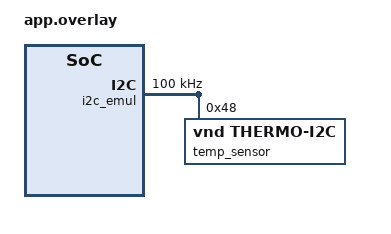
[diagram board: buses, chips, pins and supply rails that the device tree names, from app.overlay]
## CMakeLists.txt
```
cmake_minimum_required(VERSION 3.20.0)
find_package(Zephyr REQUIRED HINTS $ENV{ZEPHYR_BASE})
project(sensor_node LANGUAGES C)

target_sources(app PRIVATE
  src/main.c
  src/acquisition.c
  src/node.c
  src/sensor_source.c
  src/shell_cmds.c
  src/drivers/thermo_i2c.c
  src/lib/ring_buffer.c
  src/lib/moving_average.c
  src/lib/alarm.c
)
# The emulated sensor stands in for the hardware (app.overlay puts it on an emulated
# I2C bus). A build for a real board drops the overlay and this file.
target_sources_ifdef(CONFIG_EMUL app PRIVATE src/drivers/thermo_i2c_emul.c)
target_include_directories(app PRIVATE src src/lib)

# The portable modules (no Zephyr headers) also get the conversion warnings; the whole
# build treats warnings as errors (CONFIG_COMPILER_WARNINGS_AS_ERRORS).
set_source_files_properties(src/lib/ring_buffer.c src/lib/moving_average.c src/lib/alarm.c
  PROPERTIES COMPILE_OPTIONS "-Wextra;-Wshadow;-Wconversion;-Wsign-conversion")
```

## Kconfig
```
mainmenu "Sensor node"

rsource "Kconfig.app"

source "Kconfig.zephyr"
```

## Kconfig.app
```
# The application's options, shared with the test applications under tests/.

menu "Sensor node"

config APP_SAMPLE_PERIOD_MS
	int "Sampling period (ms)"
	range 10 10000
	default 100

config APP_AVERAGE_WINDOW
	int "Moving average window (readings)"
	range 1 64
	default 8

config APP_ALARM_HIGH_MILLI_C
	int "Alarm threshold (milli-degrees Celsius)"
	default 30000

config APP_ALARM_CLEAR_MILLI_C
	int "Alarm clear threshold (milli-degrees Celsius), below the alarm threshold"
	default 28000

config APP_FAULT_AFTER
	int "Consecutive failed reads that put the node in FAULT"
	range 1 100
	default 3

config APP_QUEUE_DEPTH
	int "Readings queued between acquisition and processing"
	range 2 256
	default 16

config APP_WATCHDOG_TIMEOUT_MS
	int "Watchdog timeout of each thread (ms)"
	range 100 60000
	default 1000

config APP_HEALTH_EVERY
	int "Log a health line every this many readings (0 = never)"
	default 50

config APP_TEST_STALL_AFTER
	int "Test only: the processing thread stops after this many readings (0 = never)"
	default 0

endmenu
```

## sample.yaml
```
# The whole application on QEMU, checked from its console output. The comment above each
# scenario lists the requirements it verifies (docs/requirements.md, scripts/trace.py).
sample:
  name: Sensor node
  description: Temperature node with an I2C sensor, alarm, watchdog and shell
common:
  tags: sensor_node
  platform_allow:
    - qemu_cortex_m3
    - mps2/an385
  integration_platforms:
    - qemu_cortex_m3
    - mps2/an385
  harness: console
  timeout: 60
tests:
  # Verifies: REQ-001, REQ-003, REQ-004
  sensor_node.app.alarm_cycle:
    harness_config:
      type: multi_line
      ordered: true
      regex:
        - "sensor node started: a reading every 100 ms"
        - "ALARM ON: average 3[0-9]\\.[0-9]{3} C reached 30\\.000 C"
        - "health: 50 readings processed, 0 dropped, 0 out of order, 0 failed reads"
        - "ALARM OFF: average 2[0-8]\\.[0-9]{3} C back to 28\\.000 C"
        - "health: 100 readings processed, 0 dropped, 0 out of order, 0 failed reads"
  # Verifies: REQ-005
  sensor_node.app.sensor_fault:
    # Twister passes these as DTC_OVERLAY_FILE, which replaces app.overlay: list it too.
    extra_dtc_overlay_files:
      - "app.overlay"
      - "tests/overlays/fault.overlay"
    harness_config:
      type: multi_line
      ordered: true
      regex:
        - "FAULT: 3 failed reads in a row"
        - "RECOVERED: sensor answers again, state (NORMAL|HIGH)"
        - "health: 50 readings processed, 0 dropped, 0 out of order, 3 failed reads"
  # Verifies: REQ-012
  sensor_node.app.watchdog:
    extra_configs:
      - CONFIG_APP_TEST_STALL_AFTER=20
    harness_config:
      type: multi_line
      ordered: true
      regex:
        - "Booting Zephyr OS"
        - "test: processing thread stops here"
        - "WATCHDOG: processing thread stalled, rebooting"
        - "Booting Zephyr OS"
        - "sensor node started"
  # Verifies: REQ-013
  sensor_node.app.shell:
    harness: shell
    harness_config:
      shell_commands:
        - command: "sensor read"
          expected: "temperature: [0-9]+\\.[0-9]{3} C"
        - command: "stats"
          expected: "readings: [0-9]+ processed, 0 dropped, 0 out of order, 0 failed"
        - command: "sensor fail 3"
          expected: "the next 3 reads will fail"
        # shell_error() colours the line, so an escape sequence comes before the text.
        - command: "sensor fail 0"
          expected: ".*usage: sensor fail <1-100>"
```

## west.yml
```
# West manifest: Zephyr v4.5.0 and only the modules this application needs.
manifest:
  self:
    path: zephyr-sensor-node

  remotes:
    - name: zephyrproject-rtos
      url-base: https://github.com/zephyrproject-rtos

  projects:
    - name: zephyr
      remote: zephyrproject-rtos
      revision: v4.5.0
      import:
        name-allowlist:
          - cmsis_6 # the Arm Cortex-M port needs CMSIS
```

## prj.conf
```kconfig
# The sensor, on an emulated I2C bus (see app.overlay).
CONFIG_SENSOR=y
CONFIG_I2C=y
CONFIG_EMUL=y

CONFIG_LOG=y
CONFIG_PRINTK=y

CONFIG_SHELL=y

# One software watchdog channel per thread. On a board with a hardware watchdog, also
# enable CONFIG_WATCHDOG and CONFIG_TASK_WDT_HW_FALLBACK, so that a stuck kernel (which
# would stop the software timer too) is caught as well.
CONFIG_TASK_WDT=y
CONFIG_REBOOT=y

CONFIG_THREAD_NAME=y
CONFIG_THREAD_STACK_INFO=y
CONFIG_ASSERT=y
CONFIG_STACK_SENTINEL=y
CONFIG_COMPILER_WARNINGS_AS_ERRORS=y
```

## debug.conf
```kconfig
# Extra configuration for debugging with GDB: west build ... -- -DEXTRA_CONF_FILE=debug.conf
CONFIG_DEBUG_OPTIMIZATIONS=y
CONFIG_DEBUG_THREAD_INFO=y
```

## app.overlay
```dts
/*
 * The temperature sensor on an emulated I2C bus. The emulator answers the driver's I2C
 * transfers register by register, as the chip would; its temperature follows a triangle
 * from 21 C up to 35 C and back over 80 readings, enough to raise and clear the alarm in
 * every cycle. For real hardware, put the same sensor node under the board's I2C
 * controller instead.
 */
/ {
	i2c_emul: i2c@100 {
		compatible = "zephyr,i2c-emul-controller";
		status = "okay";
		reg = <0x100 4>;
		clock-frequency = <100000>;
		#address-cells = <1>;
		#size-cells = <0>;
		#forward-cells = <1>;

		temp_sensor: thermo@48 {
			compatible = "vnd,thermo-i2c";
			status = "okay";
			reg = <0x48>;
		};
	};
};
```

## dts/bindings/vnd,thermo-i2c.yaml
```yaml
description: |
  THERMO-1 I2C temperature sensor (a fictitious part; register map in docs/sensor.md).

  The sim-* properties configure the emulator (src/drivers/thermo_i2c_emul.c), which
  stands in for the chip on an emulated bus. The driver ignores them.

compatible: "vnd,thermo-i2c"

include: i2c-device.yaml

properties:
  sim-baseline-milli-celsius:
    type: int
    default: 21000
    description: Emulator. Temperature at the bottom of the triangle profile.
  sim-amplitude-milli-celsius:
    type: int
    default: 14000
    description: Emulator. Rise from the baseline to the top of the profile.
  sim-period-reads:
    type: int
    default: 80
    description: Emulator. Temperature reads per cycle; even, at least 2.
  sim-fail-at-read:
    type: int
    default: 0
    description: |
      Emulator. Temperature reads number sim-fail-at-read to sim-fail-at-read + 2 fail
      (no acknowledge), like a chip that drops off the bus. 0 never fails.
  sim-device-id:
    type: int
    default: 21553
    description: Emulator. Value of the DEVICE_ID register (0x5431 is the real part).
```

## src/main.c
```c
/*
 * Sensor node: an acquisition thread reads the temperature every
 * CONFIG_APP_SAMPLE_PERIOD_MS and queues it; a processing thread averages the readings,
 * runs the alarm state machine and keeps the history. Each thread has its own watchdog
 * channel, fed only from its own loop, so a stuck thread is named and the node reboots.
 */
#include <errno.h>

#include <zephyr/kernel.h>
#include <zephyr/logging/log.h>
#include <zephyr/logging/log_ctrl.h>
#include <zephyr/sys/printk.h>
#include <zephyr/sys/reboot.h>
#include <zephyr/task_wdt/task_wdt.h>

#include "acquisition.h"
#include "format.h"
#include "node.h"
#include "sensor_source.h"

LOG_MODULE_REGISTER(main, LOG_LEVEL_INF);

/* Acquisition runs above processing: sampling stays on time even when processing lags. */
#define ACQUISITION_PRIORITY K_PRIO_PREEMPT(5)
#define PROCESSING_PRIORITY  K_PRIO_PREEMPT(7)
#define STACK_SIZE           1024

K_MSGQ_DEFINE(readings, sizeof(struct reading), CONFIG_APP_QUEUE_DEPTH, 4);

static K_THREAD_STACK_DEFINE(acquisition_stack, STACK_SIZE);
static K_THREAD_STACK_DEFINE(processing_stack, STACK_SIZE);
static struct k_thread acquisition_thread;
static struct k_thread processing_thread;

static char acquisition_name[] = "acquisition";
static char processing_name[] = "processing";
static int acquisition_wdt = -1;
static int processing_wdt = -1;

/* Runs in the system timer's interrupt: print directly, then reset. */
static void watchdog_expired(int channel_id, void *user_data)
{
	ARG_UNUSED(channel_id);
	printk("WATCHDOG: %s thread stalled, rebooting\n", (const char *)user_data);
	log_panic(); /* flush the log before the reset */
	sys_reboot(SYS_REBOOT_COLD);
}

static void acquisition(void *p1, void *p2, void *p3)
{
	int64_t next = k_uptime_get();
	uint32_t seq = 0U;

	ARG_UNUSED(p1);
	ARG_UNUSED(p2);
	ARG_UNUSED(p3);
	for (;;) {
		seq++;
		(void)acquisition_step(&readings, seq);
		(void)task_wdt_feed(acquisition_wdt);
		/* Absolute deadlines: the period does not drift by the time spent reading. */
		next += CONFIG_APP_SAMPLE_PERIOD_MS;
		k_sleep(K_TIMEOUT_ABS_MS(next));
	}
}

static void processing(void *p1, void *p2, void *p3)
{
	struct reading r;

	ARG_UNUSED(p1);
	ARG_UNUSED(p2);
	ARG_UNUSED(p3);
	for (;;) {
		/* Wake up at least 4 times per watchdog period, readings or not. */
		if (k_msgq_get(&readings, &r, K_MSEC(CONFIG_APP_WATCHDOG_TIMEOUT_MS / 4)) == 0) {
			node_process(&r);
			if (CONFIG_APP_TEST_STALL_AFTER > 0 &&
			    r.seq >= (uint32_t)CONFIG_APP_TEST_STALL_AFTER) {
				LOG_WRN("test: processing thread stops here");
				k_sleep(K_FOREVER);
			}
		}
		(void)task_wdt_feed(processing_wdt);
	}
}

int main(void)
{
	int err = sensor_source_init();

	if (err != 0) {
		LOG_ERR("temperature sensor not ready: %d", err);
		return err;
	}
	err = node_init();
	if (err != 0) {
		LOG_ERR("invalid configuration: %d", err);
		return err;
	}
	err = task_wdt_init(NULL);
	if (err != 0) {
		LOG_ERR("task watchdog: %d", err);
		return err;
	}
	acquisition_wdt = task_wdt_add(CONFIG_APP_WATCHDOG_TIMEOUT_MS, watchdog_expired,
				       acquisition_name);
	processing_wdt = task_wdt_add(CONFIG_APP_WATCHDOG_TIMEOUT_MS, watchdog_expired,
				      processing_name);
	if (acquisition_wdt < 0 || processing_wdt < 0) {
		LOG_ERR("task watchdog channels: %d, %d", acquisition_wdt, processing_wdt);
		return -ENOMEM;
	}

	(void)k_thread_create(&processing_thread, processing_stack,
			      K_THREAD_STACK_SIZEOF(processing_stack), processing, NULL, NULL, NULL,
			      PROCESSING_PRIORITY, 0, K_NO_WAIT);
	(void)k_thread_name_set(&processing_thread, processing_name);
	(void)k_thread_create(&acquisition_thread, acquisition_stack,
			      K_THREAD_STACK_SIZEOF(acquisition_stack), acquisition, NULL, NULL,
			      NULL, ACQUISITION_PRIORITY, 0, K_NO_WAIT);
	(void)k_thread_name_set(&acquisition_thread, acquisition_name);

	LOG_INF("sensor node started: a reading every %d ms, alarm at " MILLI_FMT " C, clear at "
		MILLI_FMT " C", CONFIG_APP_SAMPLE_PERIOD_MS, MILLI_ARGS(CONFIG_APP_ALARM_HIGH_MILLI_C),
		MILLI_ARGS(CONFIG_APP_ALARM_CLEAR_MILLI_C));
	return 0;
}
```

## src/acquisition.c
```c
#include "acquisition.h"

#include "node.h"
#include "sensor_source.h"

int acquisition_step(struct k_msgq *queue, uint32_t seq)
{
	struct reading r = {.seq = seq, .status = 0, .milli_c = 0};
	int err;

	r.status = sensor_source_read(&r.milli_c);
	err = k_msgq_put(queue, &r, K_NO_WAIT);
	if (err != 0) {
		node_count_dropped();
	}
	return err;
}
```

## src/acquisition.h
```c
#ifndef ACQUISITION_H
#define ACQUISITION_H

#include <stdint.h>

#include <zephyr/kernel.h>

/*
 * One acquisition: read the sensor and queue the reading (or the error) with its sequence
 * number. Never blocks: when the queue is full the reading is dropped and counted
 * (REQ-001, REQ-006). Returns 0, or -ENOMSG when the reading was dropped.
 */
int acquisition_step(struct k_msgq *queue, uint32_t seq);

#endif
```

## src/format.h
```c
/* Printing milli-degrees without floating point: 31250 → "31.250", -1500 → "-1.500". */
#ifndef FORMAT_H
#define FORMAT_H

#include <stdint.h>

#define MILLI_FMT "%s%u.%03u"
#define MILLI_ARGS(m) ((m) < 0 ? "-" : ""), milli_abs(m) / 1000U, milli_abs(m) % 1000U

static inline unsigned int milli_abs(int32_t m)
{
	return m < 0 ? 0U - (unsigned int)m : (unsigned int)m;
}

#endif
```

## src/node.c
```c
#include "node.h"

#include <string.h>

#include <zephyr/kernel.h>
#include <zephyr/logging/log.h>

#include "format.h"
#include "moving_average.h"

LOG_MODULE_REGISTER(node, LOG_LEVEL_INF);

static K_MUTEX_DEFINE(lock);
static struct moving_average average;
static struct alarm alarm;
static struct node_status status;
static uint32_t last_seq;

int node_init(void)
{
	int err;

	k_mutex_lock(&lock, K_FOREVER);
	(void)memset(&status, 0, sizeof(status));
	last_seq = 0U;
	rb_init(&status.history);
	err = ma_init(&average, CONFIG_APP_AVERAGE_WINDOW);
	if (err == 0) {
		err = alarm_init(&alarm, CONFIG_APP_ALARM_HIGH_MILLI_C, CONFIG_APP_ALARM_CLEAR_MILLI_C,
				 CONFIG_APP_FAULT_AFTER);
	}
	status.state = alarm.state;
	k_mutex_unlock(&lock);
	return err;
}

static void log_event(enum alarm_event ev, enum alarm_state state, int32_t avg)
{
	switch (ev) {
	case ALARM_RAISED:
		LOG_WRN("ALARM ON: average " MILLI_FMT " C reached " MILLI_FMT " C", MILLI_ARGS(avg),
			MILLI_ARGS(CONFIG_APP_ALARM_HIGH_MILLI_C));
		break;
	case ALARM_CLEARED:
		LOG_INF("ALARM OFF: average " MILLI_FMT " C back to " MILLI_FMT " C", MILLI_ARGS(avg),
			MILLI_ARGS(CONFIG_APP_ALARM_CLEAR_MILLI_C));
		break;
	case ALARM_FAULTED:
		LOG_ERR("FAULT: %d failed reads in a row", CONFIG_APP_FAULT_AFTER);
		break;
	case ALARM_RECOVERED:
		LOG_INF("RECOVERED: sensor answers again, state %s", alarm_state_name(state));
		break;
	case ALARM_NO_CHANGE:
	default:
		break;
	}
}

void node_process(const struct reading *r)
{
	enum alarm_event ev;
	enum alarm_state state;
	int32_t avg = 0;
	uint32_t processed, dropped, out_of_order, failed;

	k_mutex_lock(&lock, K_FOREVER);
	if (r->seq != last_seq + 1U) {
		status.out_of_order++;
	}
	last_seq = r->seq;
	status.processed++;
	if (r->status != 0) {
		status.failed_reads++;
		ev = alarm_read_failed(&alarm);
	} else {
		avg = ma_add(&average, r->milli_c);
		rb_push(&status.history, r->milli_c);
		status.last_milli_c = r->milli_c;
		status.average_milli_c = avg;
		ev = alarm_update(&alarm, avg);
	}
	status.state = alarm.state;
	state = status.state;
	processed = status.processed;
	dropped = status.dropped;
	out_of_order = status.out_of_order;
	failed = status.failed_reads;
	k_mutex_unlock(&lock);

	log_event(ev, state, avg);
	if (CONFIG_APP_HEALTH_EVERY > 0 && (processed % (uint32_t)MAX(CONFIG_APP_HEALTH_EVERY, 1)) == 0U) {
		LOG_INF("health: %u readings processed, %u dropped, %u out of order, %u failed reads",
			processed, dropped, out_of_order, failed);
	}
}

void node_count_dropped(void)
{
	k_mutex_lock(&lock, K_FOREVER);
	status.dropped++;
	k_mutex_unlock(&lock);
}

void node_snapshot(struct node_status *out)
{
	k_mutex_lock(&lock, K_FOREVER);
	*out = status;
	k_mutex_unlock(&lock);
}
```

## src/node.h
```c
/* The node's processing: readings in, averages, alarm events and history out. */
#ifndef NODE_H
#define NODE_H

#include <stdint.h>

#include "alarm.h"
#include "ring_buffer.h"

struct reading {
	uint32_t seq;    /* 1, 2, 3, ... per acquisition */
	int status;      /* 0, or the negative error of the sensor read */
	int32_t milli_c; /* valid when status == 0 */
};

struct node_status {
	uint32_t processed;
	uint32_t dropped;
	uint32_t out_of_order;
	uint32_t failed_reads;
	int32_t last_milli_c;
	int32_t average_milli_c;
	enum alarm_state state;
	struct ring_buffer history;
};

/* (Re)starts from a clean state: counters, average, alarm and history. */
int node_init(void);
void node_process(const struct reading *r);
void node_count_dropped(void);
/* A consistent copy (taken under the node's mutex), for the shell. */
void node_snapshot(struct node_status *out);

#endif
```

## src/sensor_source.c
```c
#include "sensor_source.h"

#include <errno.h>

#include <zephyr/device.h>
#include <zephyr/drivers/sensor.h>
#include <zephyr/kernel.h>

static const struct device *const sensor = DEVICE_DT_GET(DT_NODELABEL(temp_sensor));

/* A fetch and the following channel_get must not interleave with another reader's. */
static K_MUTEX_DEFINE(sensor_lock);

int sensor_source_init(void)
{
	return device_is_ready(sensor) ? 0 : -ENODEV;
}

int sensor_source_read(int32_t *milli_c)
{
	struct sensor_value val;
	int err;

	k_mutex_lock(&sensor_lock, K_FOREVER);
	err = sensor_sample_fetch_chan(sensor, SENSOR_CHAN_AMBIENT_TEMP);
	if (err == 0) {
		err = sensor_channel_get(sensor, SENSOR_CHAN_AMBIENT_TEMP, &val);
	}
	k_mutex_unlock(&sensor_lock);

	if (err == 0) {
		*milli_c = (int32_t)sensor_value_to_milli(&val);
	}
	return err;
}
```

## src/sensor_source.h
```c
/* The temperature sensor, shared by the acquisition thread and the shell. */
#ifndef SENSOR_SOURCE_H
#define SENSOR_SOURCE_H

#include <stdint.h>

/* 0, or -ENODEV when the sensor did not initialize. */
int sensor_source_init(void);
/* One fresh reading in milli-degrees Celsius; 0 or the driver's negative error. */
int sensor_source_read(int32_t *milli_c);

#endif
```

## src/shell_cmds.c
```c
/*
 * Shell commands (REQ-013):
 *   sensor read      read the temperature now
 *   sensor fail <n>  make the next n reads fail (emulated sensor only)
 *   stats            state, counters, last value, average and history
 */
#include <errno.h>
#include <stdlib.h>

#include <zephyr/devicetree.h>
#include <zephyr/drivers/emul.h>
#include <zephyr/shell/shell.h>

#include "drivers/thermo_i2c_emul.h"
#include "format.h"
#include "node.h"
#include "sensor_source.h"

static int cmd_sensor_read(const struct shell *sh, size_t argc, char **argv)
{
	int32_t milli_c = 0;
	int err;

	ARG_UNUSED(argc);
	ARG_UNUSED(argv);
	err = sensor_source_read(&milli_c);
	if (err != 0) {
		shell_error(sh, "read failed: %d", err);
		return err;
	}
	shell_print(sh, "temperature: " MILLI_FMT " C", MILLI_ARGS(milli_c));
	return 0;
}

static int cmd_sensor_fail(const struct shell *sh, size_t argc, char **argv)
{
	ARG_UNUSED(argc);
#if defined(CONFIG_EMUL)
	char *end = NULL;
	unsigned long n = strtoul(argv[1], &end, 10);

	if (end == argv[1] || *end != '\0' || n == 0UL || n > 100UL) {
		shell_error(sh, "usage: sensor fail <1-100>");
		return -EINVAL;
	}
	thermo_emul_fail_next(EMUL_DT_GET(DT_NODELABEL(temp_sensor)), (uint32_t)n);
	shell_print(sh, "the next %lu reads will fail", n);
	return 0;
#else
	ARG_UNUSED(argv);
	shell_error(sh, "only with the emulated sensor");
	return -ENOTSUP;
#endif
}

static int cmd_stats(const struct shell *sh, size_t argc, char **argv)
{
	static struct node_status s; /* the shell runs one command at a time */
	struct rb_stats h;

	ARG_UNUSED(argc);
	ARG_UNUSED(argv);
	node_snapshot(&s);
	shell_print(sh, "state: %s", alarm_state_name(s.state));
	shell_print(sh, "readings: %u processed, %u dropped, %u out of order, %u failed", s.processed,
		    s.dropped, s.out_of_order, s.failed_reads);
	if (!rb_stats(&s.history, &h)) {
		shell_print(sh, "no readings yet");
		return 0;
	}
	shell_print(sh, "last: " MILLI_FMT " C, average: " MILLI_FMT " C", MILLI_ARGS(s.last_milli_c),
		    MILLI_ARGS(s.average_milli_c));
	shell_print(sh, "last %u: min " MILLI_FMT " C, max " MILLI_FMT " C, mean " MILLI_FMT " C",
		    h.count, MILLI_ARGS(h.min), MILLI_ARGS(h.max), MILLI_ARGS(h.mean));
	return 0;
}

SHELL_STATIC_SUBCMD_SET_CREATE(sensor_cmds,
	SHELL_CMD(read, NULL, "Read the temperature now.", cmd_sensor_read),
	SHELL_CMD_ARG(fail, NULL, "Make the next <n> reads fail (emulated sensor).",
		      cmd_sensor_fail, 2, 0),
	SHELL_SUBCMD_SET_END);

SHELL_CMD_REGISTER(sensor, &sensor_cmds, "Temperature sensor.", NULL);
SHELL_CMD_REGISTER(stats, NULL, "Processing statistics.", cmd_stats);
```
